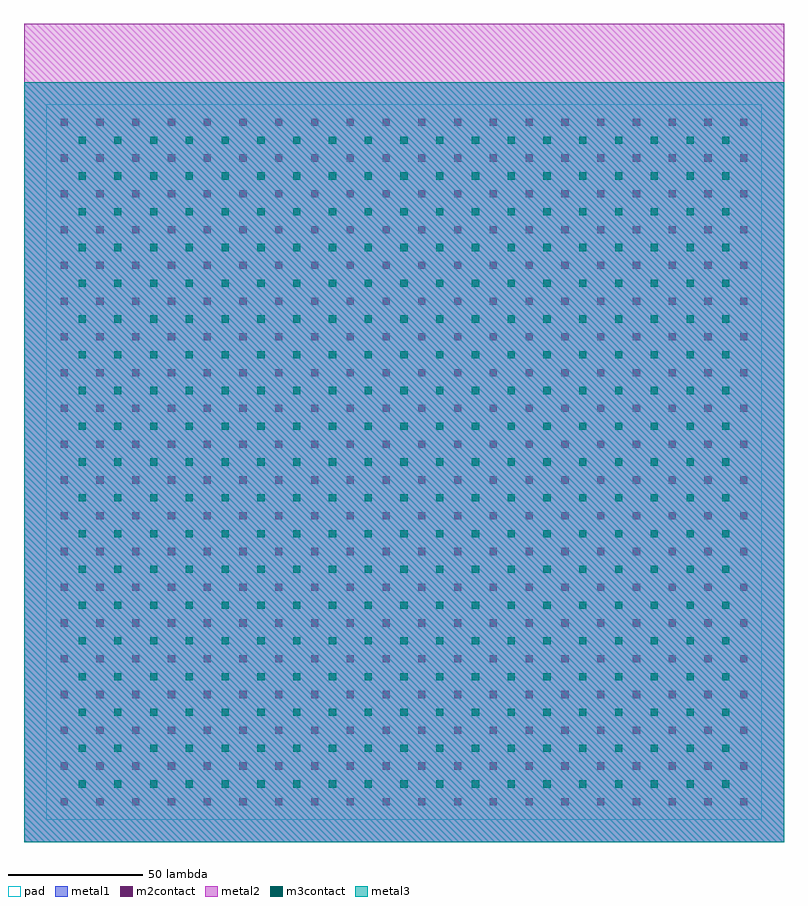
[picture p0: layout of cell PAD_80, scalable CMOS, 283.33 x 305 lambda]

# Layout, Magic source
magic
tech scmos
magscale 1 3
<< metal1 >>
rect -409 -409 404 408
<< metal2 >>
rect -425 425 425 490
rect -409 -409 404 408
<< metal3 >>
rect -409 -409 404 408
use pad80_CDNS_704676826050  pad80_CDNS_704676826050_0
transform 1 0 -425 0 1 -425
box 0 0 850 850
<< end >>

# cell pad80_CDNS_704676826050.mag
magic
tech scmos
magscale 1 3
<< metal1 >>
rect 0 825 850 850
rect 0 25 25 825
rect 825 25 850 825
rect 0 0 850 25
<< metal2 >>
rect 0 825 850 850
rect 0 25 25 825
rect 825 25 850 825
rect 0 0 850 25
<< metal3 >>
rect 0 825 850 850
rect 0 25 25 825
rect 825 25 850 825
rect 0 0 850 25
<< pad >>
rect 25 25 825 825
use via1_array_CDNS_704676826051  via1_array_CDNS_704676826051_0
array 0 19 40 0 19 40
transform 1 0 35 0 1 35
box 0 0 20 20
use via2_array_CDNS_704676826052  via2_array_CDNS_704676826052_0
array 0 18 40 0 18 40
transform 1 0 55 0 1 55
box 0 0 20 20
<< end >>

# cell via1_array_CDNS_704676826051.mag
magic
tech scmos
magscale 1 3
<< metal1 >>
rect 0 14 20 20
rect 0 6 6 14
rect 14 6 20 14
rect 0 0 20 6
<< m2contact >>
rect 6 6 14 14
<< metal2 >>
rect 0 14 20 20
rect 0 6 6 14
rect 14 6 20 14
rect 0 0 20 6
<< end >>

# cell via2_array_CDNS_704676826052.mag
magic
tech scmos
magscale 1 3
<< metal2 >>
rect 0 14 20 20
rect 0 6 6 14
rect 14 6 20 14
rect 0 0 20 6
<< m3contact >>
rect 6 6 14 14
<< metal3 >>
rect 0 14 20 20
rect 0 6 6 14
rect 14 6 20 14
rect 0 0 20 6
<< end >>
